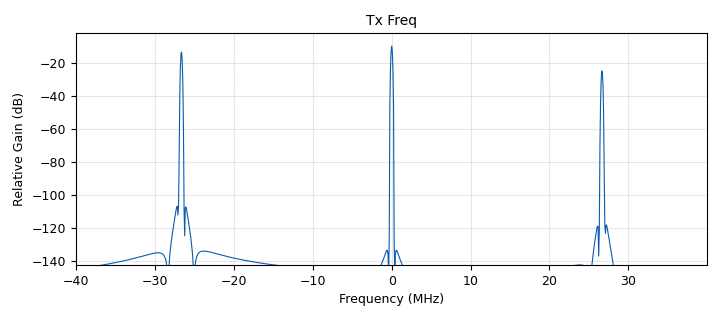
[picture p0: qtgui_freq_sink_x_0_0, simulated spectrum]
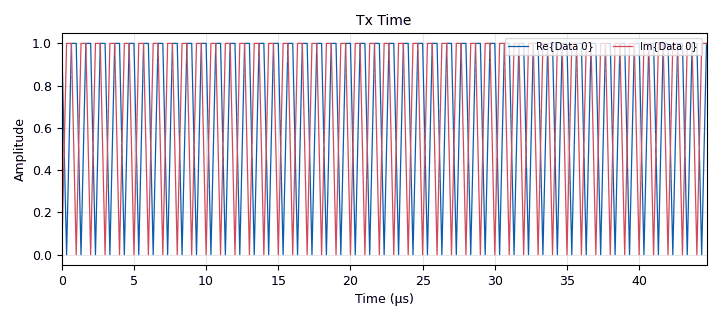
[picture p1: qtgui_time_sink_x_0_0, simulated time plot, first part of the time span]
options:
  parameters:
    author: mzemlo.pl@gmail.com
    comment: 'Repository on github: https://github.com/yabool2001/gnuradio/blob/main/dsp_tuto_001_bandpass_sampling-v01.grc'
    copyright: Maciej Zemło
    generate_options: qt_gui
    id: dsp_tuto_001_bandpass_sampling
    output_language: python
    title: '"dsp_tuto_001_bandpass_sampling"'
  states: {}

blocks:
- name: B
  id: variable
  parameters:
    value: 2e6
  states: {}
- name: f
  id: variable
  parameters:
    value: 3.5e9
  states: {}
- name: fc
  id: variable
  parameters:
    value: 20e6
  states: {}
- name: m
  id: variable
  parameters:
    value: '6'
  states: {}
- name: samp_rate
  id: variable
  parameters:
    value: (fc-B)/m
  states: {}
- name: tx_attenuation
  id: variable_qtgui_range
  parameters:
    label: tx_attenuation
    start: '10'
    step: '1'
    stop: '100'
    value: '40'
  states: {}
- name: analog_sig_source_x_0
  id: analog_sig_source_x
  parameters:
    amp: '1'
    freq: 20e6
    offset: '0'
    phase: '0'
    samp_rate: samp_rate
    type: complex
    waveform: analog.GR_SQR_WAVE
  states: {}
- name: qtgui_freq_sink_x_0_0
  id: qtgui_freq_sink_x
  parameters:
    autoscale: 'True'
    bw: int(4*fc)
    fc: '0'
    fftsize: '1024'
    name: Tx Freq
    type: complex
  states: {}
- name: qtgui_time_sink_x_0_0
  id: qtgui_time_sink_x
  parameters:
    autoscale: 'True'
    name: Tx Time
    size: '1024'
    srate: samp_rate
    type: complex
  states: {}

connections:
- [analog_sig_source_x_0, '0', qtgui_freq_sink_x_0_0, '0']
- [analog_sig_source_x_0, '0', qtgui_time_sink_x_0_0, '0']

metadata:
  file_format: 1
  grc_version: 3.10.9.2
